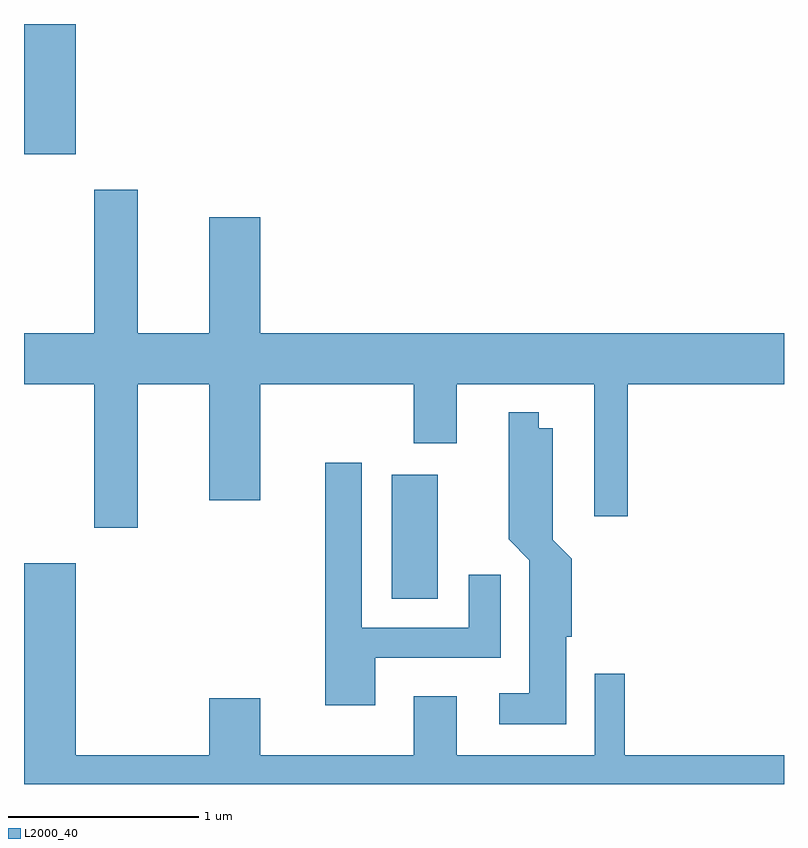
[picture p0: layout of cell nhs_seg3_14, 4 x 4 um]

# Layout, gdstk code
import gdstk
lib = gdstk.Library(unit=1e-6, precision=1e-09)
def R(c, l, rs):  # rectangles x0, y0, x1, y1
    for r in rs: c.add(gdstk.rectangle(r[:2], r[2:], *l))
def P(c, l, *ps):  # polygons
    for p in ps: c.add(gdstk.Polygon(p, *l))
L2000_40 = (2000, 40)

nhs_seg3_14 = lib.new_cell('nhs_seg3_14')
R(nhs_seg3_14, L2000_40, [(187.546,1144.866,187.789,1145.519), (185.611,1147.206,185.884,1147.892)])
P(nhs_seg3_14, L2000_40, [(186.209,1145.996),(186.586,1145.996),(186.586,1145.386),(186.854,1145.386),(186.854,1145.996),(187.661,1145.996),(187.661,1145.686),(187.889,1145.686),(187.889,1145.996),(188.611,1145.996),(188.611,1145.301),(188.789,1145.301),(188.789,1145.996),(189.611,1145.996),(189.611,1146.264),(186.854,1146.264),(186.854,1146.874),(186.586,1146.874),(186.586,1146.264),(186.209,1146.264),(186.209,1147.019),(185.981,1147.019),(185.981,1146.264),(185.611,1146.264),(185.611,1145.996),(185.981,1145.996),(185.981,1145.241),(186.209,1145.241)],
  [(188.464,1144.666),(188.494,1144.666),(188.494,1145.077),(188.394,1145.177),(188.394,1145.764),(188.319,1145.764),(188.319,1145.848),(188.161,1145.848),(188.161,1145.179),(188.271,1145.069),(188.271,1144.369),(188.113,1144.369),(188.113,1144.206),(188.464,1144.206)],
  [(187.459,1144.556),(188.119,1144.556),(188.119,1144.993),(187.951,1144.993),(187.951,1144.714),(187.389,1144.714),(187.389,1145.584),(187.196,1145.584),(187.196,1144.306),(187.459,1144.306)],
  [(189.611,1144.044),(188.774,1144.044),(188.774,1144.473),(188.616,1144.473),(188.616,1144.044),(187.889,1144.044),(187.889,1144.354),(187.661,1144.354),(187.661,1144.044),(186.854,1144.044),(186.854,1144.344),(186.586,1144.344),(186.586,1144.044),(185.884,1144.044),(185.884,1145.054),(185.611,1145.054),(185.611,1143.892),(189.611,1143.892)])

lib.write_gds('nhs_seg3_14.gds')
